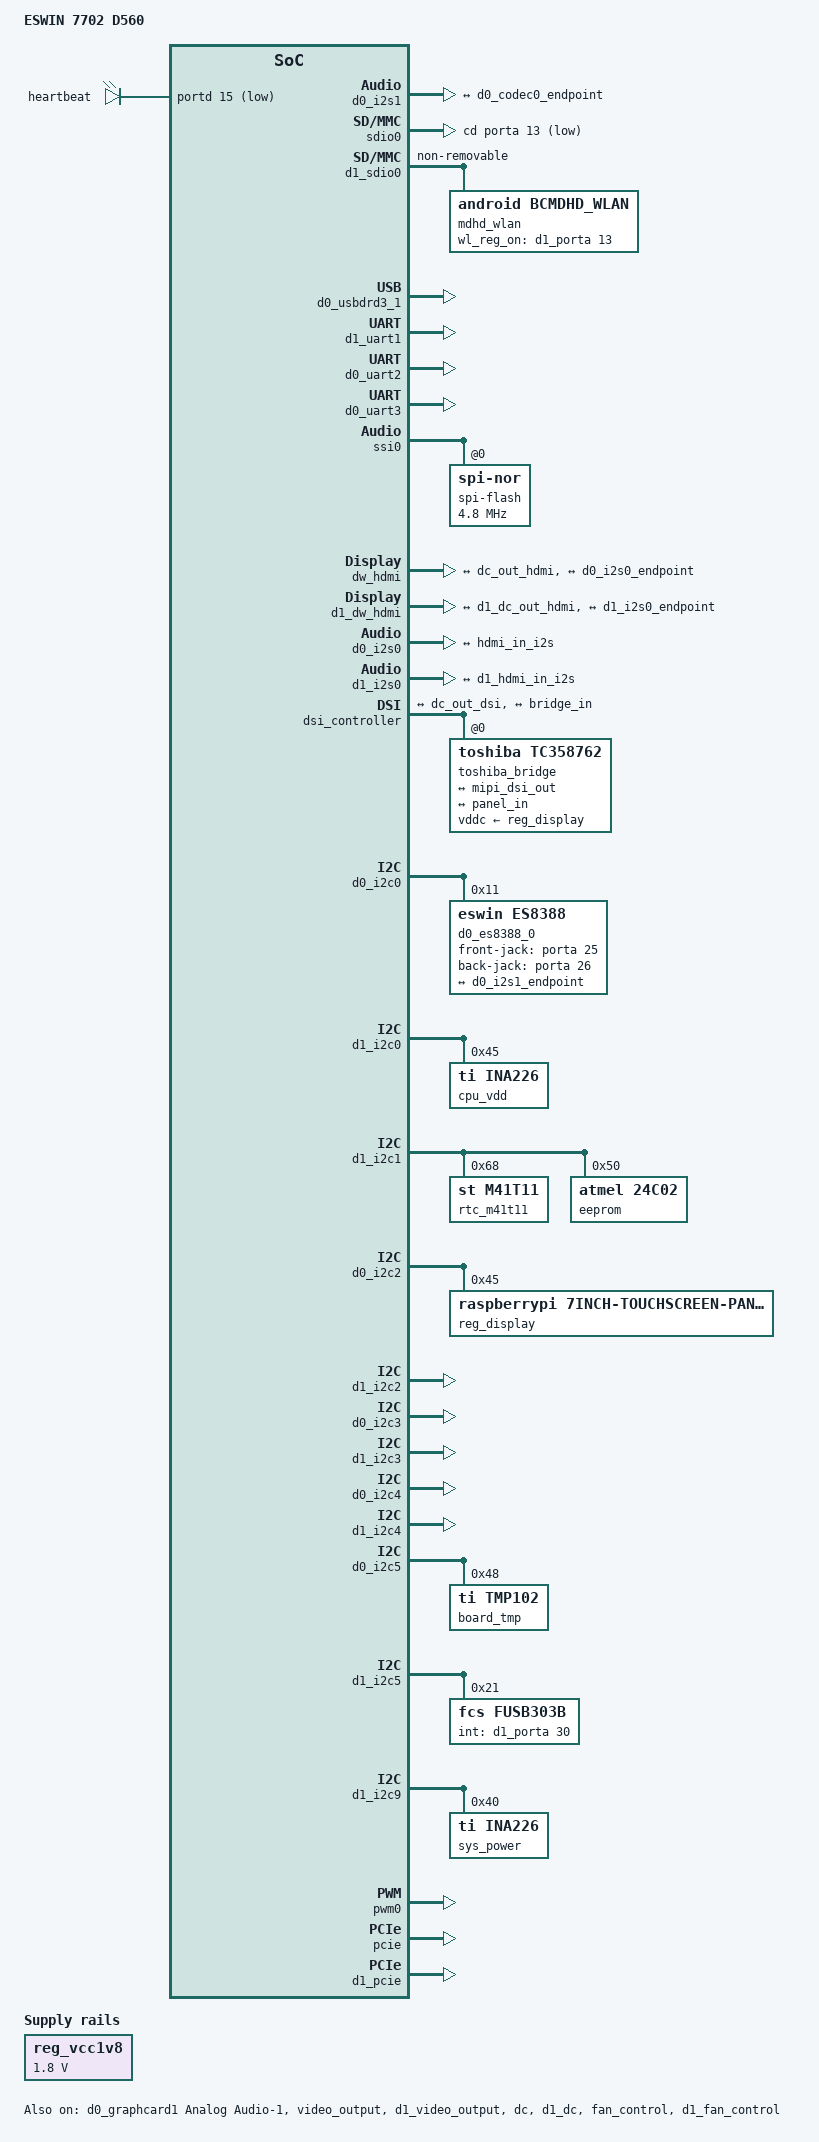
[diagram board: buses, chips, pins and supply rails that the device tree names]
// SPDX-License-Identifier: GPL-2.0
/*
 * Device Tree file for Eswin EIC7702 SoC.
 *
 * Copyright 2024, Beijing ESWIN Computing Technology Co., Ltd.. All rights reserved.
 * SPDX-License-Identifier: GPL-2.0
 *
 * This program is free software: you can redistribute it and/or modify
 * it under the terms of the GNU General Public License as published by
 * the Free Software Foundation, version 2.
 *
 * This program is distributed in the hope that it will be useful,
 * but WITHOUT ANY WARRANTY; without even the implied warranty of
 * MERCHANTABILITY or FITNESS FOR A PARTICULAR PURPOSE.  See the
 * GNU General Public License for more details.
 *
 * You should have received a copy of the GNU General Public License
 * along with this program.  If not, see <https://www.gnu.org/licenses/>.
 */

/dts-v1/;

#include "eic7702-som560.dtsi"

/ {
	#address-cells = <2>;
	#size-cells = <2>;
	model = "ESWIN 7702 D560";

	/* die0 gpio111 system led */
	leds {
		compatible = "gpio-leds";
		pinctrl-names = "default";
		pinctrl-0 = <&pinctrl_die0_gpio111_default>;

		gpio-111 {
			gpios = <&portd 15 GPIO_ACTIVE_LOW>;
			label = "heartbeat";
			linux,default-trigger = "heartbeat";
		};
	};
	reg_vcc1v8: vcc1v8 {
		compatible = "regulator-fixed";
		regulator-name = "vcc1v8";
		regulator-min-microvolt = <1800000>;
		regulator-max-microvolt = <1800000>;
	};
};

&d0_i2s1 {
	status = "okay";
	numa-node-id = <0>;
	d0_i2s1_port: port {
		d0_i2s1_endpoint: endpoint {
			remote-endpoint = <&d0_codec0_endpoint>;
			dai-format = "i2s";
		};
	};
};

&sdio0 {
	/* sd card */
	status = "okay";
	delay_code = <0x55>;
	drive-impedance-ohm = <33>;
	enable-cmd-pullup;
	enable-data-pullup;
	disable-wp;
	no-sdio;
	no-mmc;
	pinctrl-names = "default";
	pinctrl-0 = <&pinctrl_die0_gpio13_default>;
	cd-gpios = <&porta 13 GPIO_ACTIVE_LOW>;
};

&d1_sdio0 {
	/* wifi module */
	status = "okay";
	delay_code = <0x29>;
	drive-impedance-ohm = <33>;
	enable-cmd-pullup;
	enable-data-pullup;
	keep-power-in-suspend;
	non-removable;
	no-sd;
	no-mmc;
	vqmmc-supply = <&reg_vcc1v8>;
	mdhd_wlan {
		compatible = "android,bcmdhd_wlan";
		pinctrl-names = "default";
		pinctrl-0 = <&pinctrl_die1_gpio13_default>;
		gpio_wl_reg_on = <&d1_porta 13 GPIO_ACTIVE_HIGH>;
	};
};

&d0_usbdrd3_1 {
	status = "okay";
	pinctrl-names = "default";
	pinctrl-0 = <&pinctrl_die0_gpio14_default>;
	hub-rst-gpios = <&porta 14 GPIO_ACTIVE_HIGH>;
};

&d1_uart1 {
	/* BT M.2 KEY-E */
	status = "okay";
};

&d0_uart2 {
	/* connect mcu */
	status = "okay";
};

&d1_uart2 {
	/* unused */
	status = "disabled";
};

&d0_uart3 {
	/* pin header */
	status = "okay";
	pinctrl-names = "default";
	pinctrl-0 = <&pinctrl_die0_uart3_default>;
};

&ssi0 {
	/* pin header */
	status = "okay";
	pinctrl-names = "default";
	pinctrl-0 = <&pinctrl_die0_dual_spi1_default>;
	num-cs = <1>;
	spi-flash@0 {
		compatible = "jedec,spi-nor";
		reg = <0>;
		#address-cells = <1>;
		#size-cells = <1>;
		spi-max-frequency = <4800000>;
		rx-sample-delay-ns = <10>;
	};
};
&d1_ssi0 {
	/* unused */
	status = "disabled";
};

&d0_graphcard1 {
	status = "okay";
	label = "Analog Audio-1";
	dais = <&d0_i2s1_port>;
};

&video_output {
	status = "okay";
	power-supply = <&reg_display>;
};

&d1_video_output {
	status = "okay";
};

&dc {
	status = "okay";
	dc_out: port {
		#address-cells = <1>;
		#size-cells = <0>;
		dc_out_dsi: endpoint@0 {
			reg = <0>;
			remote-endpoint = <&dsi_input>;
		};
		dc_out_dpi1: endpoint@1 {
			reg = <1>;
			remote-endpoint = <&vd_input>;
		};
		dc_out_hdmi: endpoint@2 {
			reg = <2>;
			remote-endpoint = <&hdmi_in_dc>;
		};
	};
};

&d1_dc {
	status = "okay";
	d1_dc_out: port {
		#address-cells = <1>;
		#size-cells = <0>;
		d1_dc_out_dpi1: endpoint@1 {
			reg = <1>;
			remote-endpoint = <&d1_vd_input>;
		};
		d1_dc_out_hdmi: endpoint@2 {
			reg = <2>;
			remote-endpoint = <&d1_hdmi_in_dc>;
		};
	};
};

&dw_hdmi {
	status = "okay";
	ports {
		#address-cells = <1>;
		#size-cells = <0>;
		port@0 {
			reg = <0>;
			hdmi_in_dc: endpoint@0 {
				remote-endpoint = <&dc_out_hdmi>;
			};
		};
		port@2 {
			reg = <2>;
			hdmi_in_i2s: endpoint@1 {
				system-clock-frequency = <12288000>;
				remote-endpoint = <&d0_i2s0_endpoint>;
			};
		};
	};
};

&d1_dw_hdmi {
	status = "okay";
	ports {
		#address-cells = <1>;
		#size-cells = <0>;
		port@0 {
			reg = <0>;
			d1_hdmi_in_dc: endpoint@0 {
				remote-endpoint = <&d1_dc_out_hdmi>;
			};
		};
		port@2 {
			reg = <2>;
			d1_hdmi_in_i2s: endpoint@1 {
				system-clock-frequency = <12288000>;
				remote-endpoint = <&d1_i2s0_endpoint>;
			};
		};
	};
};

&d0_i2s0 {
	status = "okay";
	numa-node-id = <0>;
	d0_i2s0_port: port {
		d0_i2s0_endpoint: endpoint {
			remote-endpoint = <&hdmi_in_i2s>;
			dai-format = "i2s";
		};
	};
};

&d1_i2s0 {
	status = "okay";
	numa-node-id = <1>;
	d1_i2s0_port: port {
		d1_i2s0_endpoint: endpoint {
			remote-endpoint = <&d1_hdmi_in_i2s>;
			dai-format = "i2s";
		};
	};
};

&dsi_controller {
	status = "okay";
	dependencies = <&reg_display>;
	dependencies = <&rasp_panel>;
	dependencies = <&toshiba_bridge>;
	dsi-power-gpio = <&portc 7 GPIO_ACTIVE_HIGH>;
	dsi-led-gpio = <&portc 13 GPIO_ACTIVE_HIGH>;
	ports {
		#address-cells = <1>;
		#size-cells = <0>;
		port@0 {
			#address-cells = <1>;
			#size-cells = <0>;
			reg = <0>;
			dsi_input: endpoint {
				remote-endpoint = <&dc_out_dsi>;
			};
		};
		port@1 {
			#address-cells = <1>;
			#size-cells = <0>;
			reg = <1>;
			mipi_dsi_out: endpoint {
				remote-endpoint = <&bridge_in>;
			};
		};
	};
	toshiba_bridge: bridge@0 {
		reg = <0>;
		compatible = "toshiba,tc358762";
		status = "okay";
		vddc-supply = <&reg_display>;
		ports {
			#address-cells = <1>;
			#size-cells = <0>;
			port@0 {
				reg = <0>;
				bridge_in: endpoint {
					remote-endpoint = <&mipi_dsi_out>;
				};
			};
			port@1 {
				reg = <1>;
				bridge_out: endpoint {
					remote-endpoint = <&panel_in>;
				};
			};
		};
	};
};

&rasp_panel {
    status = "okay";
    backlight = <&reg_display>;
    power-supply = <&reg_display>;
    port {
        panel_in: endpoint {
        remote-endpoint = <&bridge_out>;
        };
    };
};

&d0_i2c0 {
	/* codec es8388 */
	status = "okay";
	d0_es8388_0: es8388-0@11 {
		compatible = "eswin,es8388";
		reg = <0x11>;
		#sound-dai-cells = <0>;
		eswin-plat = <2>;
		pinctrl-names = "default";
		pinctrl-0 = <&pinctrl_die0_gpio25_default &pinctrl_die0_gpio26_default>;
		front-jack-gpios = <&porta 25 GPIO_ACTIVE_HIGH>;
		back-jack-gpios = <&porta 26 GPIO_ACTIVE_HIGH>;
		port {
			d0_codec0_endpoint: endpoint {
				system-clock-frequency = <12288000>;
				remote-endpoint = <&d0_i2s1_endpoint>;
			};
		};
	};
};

&d1_i2c0 {
	/* power monitor(ina236) */
	status = "okay";
	ina226@45 {
		compatible = "ti,ina226";
		#io-channel-cells = <1>;
		label = "cpu_vdd";
		reg = <0x45>;
		shunt-resistor = <1000>;
	};
};

&fan_control {
	status = "okay";
};

&d1_fan_control {
	pinctrl-0 = <&pinctrl_die1_fan_tach_default &pinctrl_die1_pwm0_default
				&pinctrl_die1_pwm1_default &pinctrl_die1_pwm2_default>;
	status = "okay";
	fan-0 {
		label = "d1_fan";
		pwms = <&d1_pwm0 0 100000 0>;
		status = "okay";
	};
	fan-1 {
		label = "chassis_fan1";
		pwms = <&d1_pwm0 1 100000 0>;
		status = "okay";
	};
	fan-2 {
		label = "chassis_fan2";
		pwms = <&d1_pwm0 2 100000 0>;
		status = "okay";
	};
};

&d0_i2c1 {
	/* unused */
	status = "disabled";
};
&d1_i2c1 {
	/* eeprom(at24c02c) & rtc(rs4c411) */
	status = "okay";
	rtc_m41t11: m41t11@68 {
		compatible = "st,m41t11";
		reg = <0x68>;
	};
	eeprom@50 {
		compatible = "atmel,24c02";
		reg = <0x50>;
	};
};

&d0_i2c2 {
	/* d0 dsi*/
	status = "ok";
	reg_display: regulator@45 {
		status = "okay";
		compatible = "raspberrypi,7inch-touchscreen-panel-regulator";
		reg = <0x45>;
		gpio-controller;
		#gpio-cells = <2>;
	};
};

&d1_i2c2 {
	/* d1 dsi */
	status = "ok";
};

&d0_i2c3 {
	/* d0 csi0-1 */
	status = "okay";
};
&d1_i2c3 {
	/* d1 csi0-1 */
	status = "okay";
};

&d0_i2c4 {
	/* d0 csi2-3 */
	status = "okay";
};

&d1_i2c4 {
	/* d1 csi2-3 */
	status = "okay";
};

&d0_i2c5 {
	/* pin header */
	status = "okay";
	tmp102@48 {
		compatible = "ti,tmp102";
		reg = <0x48>;
		label = "board_tmp";
		#thermal-sensor-cells = <1>;
	};
};
&d1_i2c5 {
	/* cc logic fusb303b */
	fusb303b@21 {
		compatible = "fcs,fusb303b";
		status = "okay";
		reg = <0x21>;
		eswin,syscfg = <&d1_sys_con 0x3C0 12>;

		pinctrl-names = "default";
		pinctrl-0 = <&pinctrl_die1_gpio30_default>;
		int-gpios = <&d1_porta 30 GPIO_ACTIVE_HIGH>;
		connector {
			compatible = "usb-c-connector";
			label = "USB-C";
			data-role = "host";
		};
	};
};

&d0_i2c8 {
	/* unused */
	status = "disabled";
};
&d1_i2c8 {
	/* unused */
	status = "disabled";
};

&d0_i2c9 {
	/* unused */
	status = "disabled";
};
&d1_i2c9 {
	/* pin header */
	status = "okay";
	sys_power:ina226@40 {
		compatible = "ti,ina226";
		#io-channel-cells = <1>;
		label = "sys_power";
		reg = <0x40>;
		shunt-resistor = <1000>;
	};
};

&wdt0 {
	status = "disabled";
};
&d1_wdt0 {
	status = "disabled";
};

&wdt1 {
	status = "disabled";
};
&d1_wdt1 {
	status = "disabled";
};

&wdt2 {
	status = "disabled";
};
&d1_wdt2 {
	status = "disabled";
};

&wdt3 {
	status = "disabled";
};
&d1_wdt3 {
	status = "disabled";
};

&timer1 {
	status = "disabled";
};
&d1_timer1 {
	status = "disabled";
};

&pwm0 {
	status = "okay";
};

&pcie {
	status = "okay";
	pinctrl-names = "default";
	pinctrl-0 = <&pinctrl_die1_gpio21_default>;
	pci-socket-gpios = <&d1_porta 21 GPIO_ACTIVE_HIGH>;
};

&d1_pcie {
	status = "okay";
};

&pinctrl {
	/* pin header */
	status = "okay";
	pinctrl-names = "default";
	pinctrl-0 = <&pinctrl_die0_gpio6_default &pinctrl_die0_gpio12_default &pinctrl_die0_gpio39_default 
				&pinctrl_die0_gpio40_default &pinctrl_die0_gpio41_default &pinctrl_die0_gpio46_default
				&pinctrl_die0_gpio47_default &pinctrl_die0_gpio73_default &pinctrl_die0_gpio74_default
				&pinctrl_die0_gpio75_default &pinctrl_die0_gpio81_default>;

};

&d1_pinctrl {
	/* pin header */
	status = "okay";
	pinctrl-names = "default";
	pinctrl-0 = <&pinctrl_die1_gpio36_default &pinctrl_die1_gpio39_default
				&pinctrl_die1_gpio92_default &pinctrl_die1_gpio93_default
				&pinctrl_die1_gpio18_default>;
};

/******** pin headers *********
     pin : function
       3 : D0 I2C5 SDA
       5 : D0 I2C5 SCL
       7 : D0 GPIO46
       8 : D0 UART3 TX
      10 : D0 UART3 RX
      11 : D0 GPIO6
      12 : D0 GPIO12
      13 : D0 GPIO5 (x)
      15 : D0 GPIO81
      16 : D0 GPIO47
      18 : D0 SPI1 D3(GPIO40)
      19 : D0 SPI1 D0
      21 : D0 SPI1 D1
      22 : D0 SPI1 D2(GPIO39)
      23 : D0 SPI1 CLK
      24 : D0 SPI1 CS0
      26 : D0 SPI1 CS1(GPIO41)
      27 : D1 I2C9 SDA
      28 : D1 I2C9 SCL
      29 : D1 GPIO93
      31 : D1 GPIO92
      32 : D1 GPIO35 (x)
      33 : D1 GPIO36
      35 : D1 GPIO39
      36 : D0 GPIO79 (x)
      37 : D0 GPIO74
      38 : D0 GPIO75
      40 : D0 GPIO73
*********************************/



/* die0 GPIO Function Description

	gpio0   : pcie prstn(I)
	gpio11  : tmp alert(I)
	gpio13  : tf card detect(I)
	gpio18  : ina226 alert(I)
	gpio25  : front panel audio insert detection(I)
	gpio27  : sata act(O)
	gpio28  : to mcu pb5
	gpio29  : gphy0 resetn(O)
	gpio34  : gphy1 resetn(O)
	gpio42  : usb0 pwren(O)
	gpio43  : usb1 pwren(O)
	gpio111 : sys run led(O)
*/
/* die1 GPIO Function Description

	gpio0   : pcie prstn(I)
	gpio5   : classis fan1 fantach
	gpio6   : classis fan2 fantach
	gpio27  : to mcu pb3
	gpio28  : to mcu pb4
	gpio29  : gphy0 resetn(O)
	gpio34  : gphy1 resetn(O)
	gpio42  : usb0 pwren(O)
	gpio43  : usb1 pwren(O)
*/
